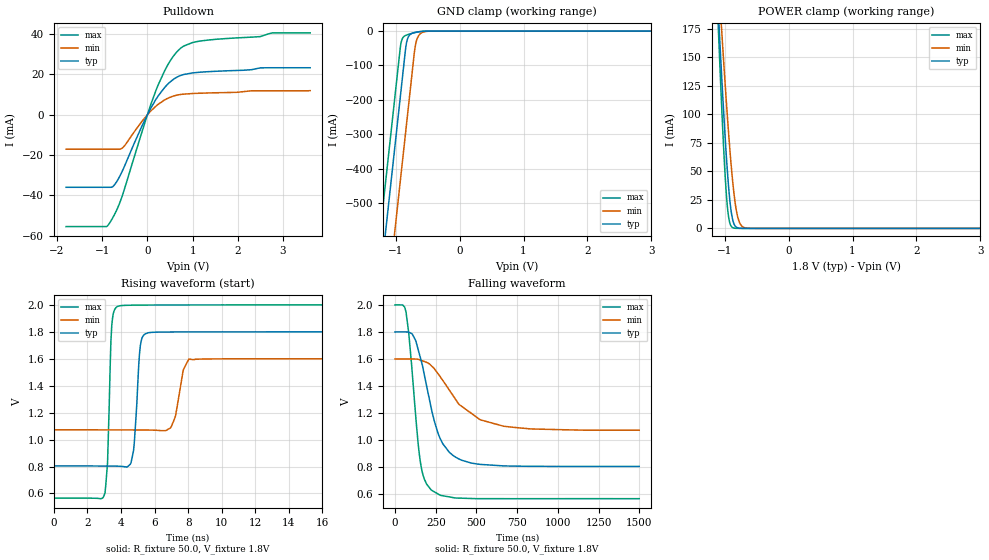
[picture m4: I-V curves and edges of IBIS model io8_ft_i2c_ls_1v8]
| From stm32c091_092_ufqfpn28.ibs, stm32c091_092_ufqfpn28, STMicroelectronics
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[Model]   io8_ft_i2c_ls_1v8
Model_type I/O_open_drain
Polarity   Non-Inverting
Enable   Active-Low
| CAP_THRESHOLD on pad IOFT is "UDTCAPC" :
| Rising=30.0% of vddiom   Falling=70.0% of vddiom
| C_comp min and max val. don't necessarily correlate with the min and max pvt
| but are the smallest and greatest pad capacitance found.
| var   typ   min   max
C_comp   2.20436pF  2.18201pF  2.25555pF
|C_comp_pulldown   2.20436pF  2.18201pF  2.25555pF
Vinl = 800.0mV
Vinh = 1.0V
Vmeas = 900.0mV   | Reference voltage for timing measurements
Cref  = 50.0pF   | Timing specification test load capacitance value
Rref  = 1.0MOhm   | Timing specification test load resistance value
Vref  = 990.0mV   | Timing specification test load voltage
[Model Spec]
| TIME_THRESHOLD on pin ZII2CV12 is "CMOS" :
| Rising=50.0% of vdd   Falling=50.0% of vdd
Vinl 728.70000mV 652.70000mV 817.70000mV
Vinh 1.06430V 953.30000mV 1.16330V
| variable   typ   min   max
[Temperature Range] 25.0 125.0 -40.0
| variable   typ   min   max
[Voltage Range] 1.8V 1.6V 2.0V
| variable   typ   min   max
[POWER Clamp Reference] 1.8V 1.6V 2.0V
| variable   typ   min   max
[GND Clamp Reference] 0V 0V 0V
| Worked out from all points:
|   slope of the pulldown table from 0 to 0.27 V, typ, clamps not added: 26.4 ohm
|   GND clamp passes 1 mA (typ) near -0.58 V on its own axis
|   POWER clamp passes 1 mA (typ) near -0.81 V on its own axis
|   rising waveform, R_fixture 50.0, V_fixture 1.8V: 20-80 % time 275ps typ, 425ps min, 190ps max; typ from 0.804 V to 1.8 V
|   falling waveform, R_fixture 50.0, V_fixture 1.8V: 20-80 % time 123ns typ, 229ns min, 63.9ns max; typ from 1.8 V to 0.804 V
[POWER Clamp]
-1.8V     1.053A     933.5mA    1.262A
-1.1V     191.1mA    222.7mA    177.1mA
-1.08V    169mA      204.2mA    149.9mA
-1.05V    136.9mA    176.9mA    110.9mA
-1.01V    96.55mA    141.6mA    64.02mA
-980mV    68.91mA    116.4mA    35.23mA
-940mV    37.57mA    84.83mA    10.65mA
-880mV    8.969mA    44.34mA    807.4uA
-830mV    1.697mA    20.19mA    75.79uA
-790mV    394.2uA    8.787mA    11.25uA
-670mV    4.467uA    374.2uA    36.56nA
3.6V      0A         0A         0A
[GND Clamp]
-1.8V     -1.676A    -1.92A     -1.532A
-1.24V    -723.6mA   -967.7mA   -579.5mA
-1.05V    -400.6mA   -644.7mA   -256.5mA
-920mV    -179.6mA   -423.7mA   -38.92mA
-890mV    -128.6mA   -372.7mA   -20.43mA
-850mV    -60.6mA    -304.7mA   -13.42mA
-830mV    -34.09mA   -270.7mA   -11.74mA
-800mV    -16.49mA   -219.7mA   -9.781mA
-690mV    -3.754mA   -41.06mA   -4.242mA
-640mV    -2.187mA   -13.34mA   -2.404mA
-570mV    -808.6uA   -3.187mA   -757.3uA
3.6V      509.6pA    49.06nA    363.2pA
| variable   typ   min   max
[Pullup Reference] 1.8V 1.6V 2.0V
| variable   typ   min   max
[Pulldown Reference] 0V 0V 0V
[Pulldown]
-1.8V     -35.95mA   -17.07mA   -55.42mA
-910mV    -35.95mA   -17.07mA   -55.42mA
-830mV    -35.95mA   -17.07mA   -53.42mA
-720mV    -34.49mA   -17.07mA   -49.08mA
-540mV    -27.18mA   -16.22mA   -39.07mA
-120mV    -5.598mA   -3.255mA   -8.496mA
240mV     9.353mA    5.171mA    14.85mA
490mV     15.96mA    8.523mA    26.14mA
750mV     19.54mA    10.04mA    33.17mA
1.37V     21.33mA    10.77mA    37.03mA
2.78V     23.24mA    11.8mA     40.53mA
3.6V      23.24mA    11.89mA    40.54mA
[Ramp]
dV/dt_r 597.44712mV/272.48151ps 316.67044mV/425.48952ps 860.77308mV/189.41166ps
dV/dt_f 597.43435mV/122.39921ns 316.69004mV/228.95552ns 860.79343mV/63.78439ns
R_load = 50.0
| Removed startup time: 0s 0s 0s  .
| Removed end time: 49.7ns.
[Rising Waveform]
R_fixture   = 50.0
V_fixture   = 1.8V
V_fixture_min = 1.6V
V_fixture_max = 2.0V
0s        804.2mV    1.072V     565.4mV
3.05ns    803.3mV    1.072V     603.3mV
3.45ns    803.1mV    1.072V     1.844V
3.9ns     801.9mV    1.072V     1.993V
4.6ns     828.4mV    1.071V     1.998V
5.15ns    1.694V     1.071V     1.999V
5.65ns    1.794V     1.071V     1.999V
7ns       1.799V     1.097V     2V
8.05ns    1.799V     1.598V     2V
49.7ns    1.8V       1.6V       2V
| Removed startup time: 0s 0s 0s  .
| Removed end time: 1.49978us.
[Falling Waveform]
R_fixture   = 50.0
V_fixture   = 1.8V
V_fixture_min = 1.6V
V_fixture_max = 2.0V
0s        1.8V       1.6V       2V
67.18ns   1.8V       1.6V       1.949V
106.7ns   1.783V     1.6V       1.48V
151.1ns   1.629V     1.594V     876mV
179.7ns   1.483V     1.581V     711.1mV
221.8ns   1.238V     1.551V     629.8mV
293ns     972.7mV    1.442V     587.3mV
460.8ns   831.7mV    1.204V     567mV
713.5ns   806.9mV    1.095V     565.3mV
1.5us     804.3mV    1.072V     565.3mV
